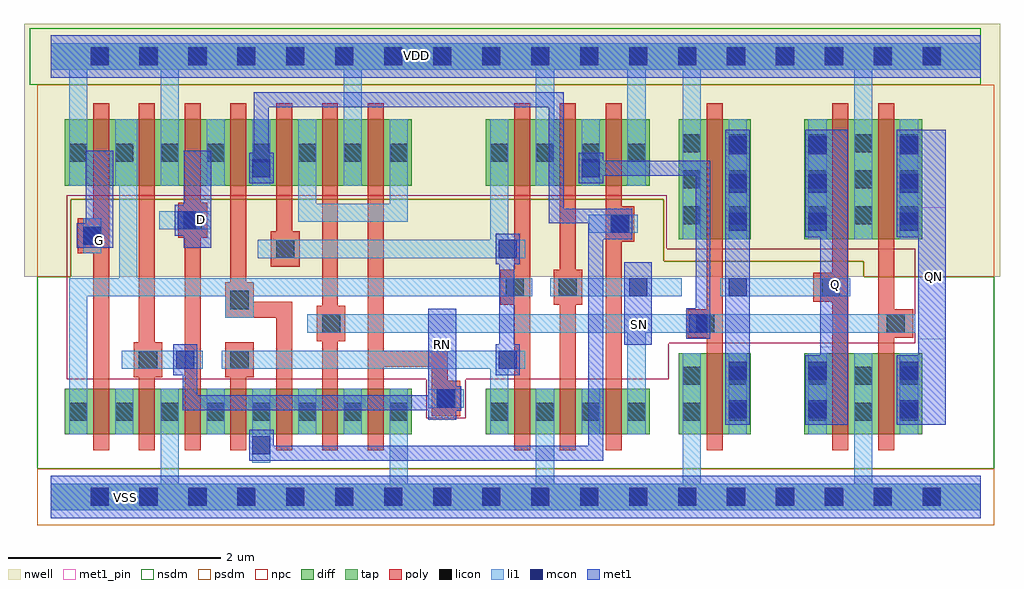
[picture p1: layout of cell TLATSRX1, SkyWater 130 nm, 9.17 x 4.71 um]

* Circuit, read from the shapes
.subckt TLATSRX1 D G Q QN RN SN VDD VSS
XM1 n1 G n2 VSS sky130_fd_pr__nfet_01v8 w=0.425 l=0.15
XM2 VSS RN n1 VSS sky130_fd_pr__nfet_01v8 w=0.425 l=0.15
XM3 n3 D VSS VSS sky130_fd_pr__nfet_01v8 w=0.425 l=0.15
XM4 n4 n5 n3 VSS sky130_fd_pr__nfet_01v8 w=0.425 l=0.15
XM5 n6 n2 n4 VSS sky130_fd_pr__nfet_01v8 w=0.425 l=0.15
XM6 n7 n8 n6 VSS sky130_fd_pr__nfet_01v8 w=0.425 l=0.15
XM7 VSS RN n7 VSS sky130_fd_pr__nfet_01v8 w=0.425 l=0.15
XM8 VSS n2 n5 VSS sky130_fd_pr__nfet_01v8 w=0.425 l=0.15
XM9 n9 SN VSS VSS sky130_fd_pr__nfet_01v8 w=0.425 l=0.15
XM10 n8 n4 n9 VSS sky130_fd_pr__nfet_01v8 w=0.425 l=0.15
XM11 n10 n8 VSS VSS sky130_fd_pr__nfet_01v8 w=0.76 l=0.15
XM12 VSS n10 Q VSS sky130_fd_pr__nfet_01v8 w=0.76 l=0.15
XM13 QN n8 VSS VSS sky130_fd_pr__nfet_01v8 w=0.76 l=0.15
XM14 n2 G VDD VDD sky130_fd_pr__pfet_01v8 w=0.625 l=0.15
XM15 VDD RN n2 VDD sky130_fd_pr__pfet_01v8 w=0.625 l=0.15
XM16 n11 D VDD VDD sky130_fd_pr__pfet_01v8 w=0.625 l=0.15
XM17 n4 n2 n11 VDD sky130_fd_pr__pfet_01v8 w=0.625 l=0.15
XM18 n12 n5 n4 VDD sky130_fd_pr__pfet_01v8 w=0.625 l=0.15
XM19 VDD n8 n12 VDD sky130_fd_pr__pfet_01v8 w=0.625 l=0.15
XM20 n12 RN VDD VDD sky130_fd_pr__pfet_01v8 w=0.625 l=0.15
XM21 VDD n2 n5 VDD sky130_fd_pr__pfet_01v8 w=0.625 l=0.15
XM22 n8 SN VDD VDD sky130_fd_pr__pfet_01v8 w=0.625 l=0.15
XM23 VDD n4 n8 VDD sky130_fd_pr__pfet_01v8 w=0.625 l=0.15
XM24 n10 n8 VDD VDD sky130_fd_pr__pfet_01v8 w=1.13 l=0.15
XM25 VDD n10 Q VDD sky130_fd_pr__pfet_01v8 w=1.13 l=0.15
XM26 QN n8 VDD VDD sky130_fd_pr__pfet_01v8 w=1.13 l=0.15
.ends

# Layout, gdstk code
from math import pi, radians
import gdstk
lib = gdstk.Library(unit=1e-6, precision=1e-09)
def R(c, l, rs):  # rectangles x0, y0, x1, y1
    for r in rs: c.add(gdstk.rectangle(r[:2], r[2:], *l))
def A(c, l, x, y, w, h, nx, ny, dx, dy):  # array of equal rectangles
    R(c, l, [(x+i*dx, y+j*dy, x+i*dx+w, y+j*dy+h) for i in range(nx) for j in range(ny)])
def P(c, l, *ps):  # polygons
    for p in ps: c.add(gdstk.Polygon(p, *l))
nwell = (64, 20)
diff = (65, 20)
tap = (65, 44)
poly = (66, 20)
licon = (66, 44)
li1 = (67, 20)
mcon = (67, 44)
met1_pin = (68, 16)
met1 = (68, 20)
nsdm = (93, 44)
psdm = (94, 20)
npc = (95, 20)

pyl1con_c_cdns_750710154 = lib.new_cell('PYL1CON_C_CDNS_750710154092')
R(pyl1con_c_cdns_750710154, poly, [(-0.135,-0.165,0.135,0.165)])
R(pyl1con_c_cdns_750710154, licon, [(-0.085,-0.085,0.085,0.085)])
R(pyl1con_c_cdns_750710154, npc, [(-0.185,-0.185,0.185,0.185)])

l1m1_c_cdns_750710154091 = lib.new_cell('L1M1_C_CDNS_750710154091')
R(l1m1_c_cdns_750710154091, li1, [(-0.085,-0.165,0.085,0.165)])
R(l1m1_c_cdns_750710154091, mcon, [(-0.085,-0.085,0.085,0.085)])
R(l1m1_c_cdns_750710154091, met1, [(-0.115,-0.145,0.115,0.145)])

l1m1_c_cdns_750710154090 = lib.new_cell('L1M1_C_CDNS_750710154090')
R(l1m1_c_cdns_750710154090, li1, [(-0.165,-0.085,0.165,0.085)])
R(l1m1_c_cdns_750710154090, mcon, [(-0.085,-0.085,0.085,0.085)])
R(l1m1_c_cdns_750710154090, met1, [(-0.115,-0.145,0.115,0.145)])

l1m1_c_cdns_750710154098 = lib.new_cell('L1M1_C_CDNS_750710154098')
R(l1m1_c_cdns_750710154098, li1, [(-0.085,-0.525,0.085,0.525)])
A(l1m1_c_cdns_750710154098, mcon, -0.085, -0.445, 0.17, 0.17, 1, 3, 0, 0.36)
R(l1m1_c_cdns_750710154098, met1, [(-0.115,-0.505,0.115,0.505)])

l1m1_c_cdns_750710154094 = lib.new_cell('L1M1_C_CDNS_750710154094')
R(l1m1_c_cdns_750710154094, li1, [(-0.085,-0.345,0.085,0.345)])
R(l1m1_c_cdns_750710154094, mcon, [(-0.085,-0.265,0.085,-0.095), (-0.085,0.095,0.085,0.265)])
R(l1m1_c_cdns_750710154094, met1, [(-0.115,-0.325,0.115,0.325)])

tlatsrx1 = lib.new_cell('TLATSRX1')
A(tlatsrx1, nwell, -0.045, 2.745, 1.04, 0.985, 3, 1, 0.43, 0)
A(tlatsrx1, nwell, 3.91, 2.745, 1.04, 0.985, 3, 1, 0.43, 0)
R(tlatsrx1, nwell, [(-0.25,2.07,8.92,4.445), (5.72,2.24,6.76,3.73), (6.9,2.24,7.9,3.73), (7.54,2.24,8.37,3.73), (1.245,2.745,2.245,3.73), (1.885,2.745,2.715,3.73), (2.105,2.745,3.145,3.73), (2.535,2.745,3.575,3.73), (-0.25,3.875,8.92,4.445)])
A(tlatsrx1, diff, 0.4, 0.59, 0.15, 0.425, 7, 1, 0.43, 0)
A(tlatsrx1, diff, 4.355, 0.59, 0.15, 0.425, 3, 1, 0.43, 0)
A(tlatsrx1, diff, 0.4, 2.925, 0.15, 0.625, 7, 1, 0.43, 0)
A(tlatsrx1, diff, 4.355, 2.925, 0.15, 0.625, 3, 1, 0.43, 0)
R(tlatsrx1, diff, [(0.135,0.59,0.4,1.015), (0.55,0.59,0.815,1.015), (0.565,0.59,0.83,1.015), (0.98,0.59,1.245,1.015), (0.995,0.59,1.26,1.015), (1.41,0.59,1.675,1.015), (1.425,0.59,1.69,1.015), (1.84,0.59,2.065,1.015), (2.065,0.59,2.12,1.015), (2.27,0.59,2.535,1.015), (2.285,0.59,2.55,1.015), (2.7,0.59,2.965,1.015), (2.715,0.59,2.98,1.015), (3.13,0.59,3.395,1.015), (4.09,0.59,4.355,1.015), (4.505,0.59,4.77,1.015), (4.52,0.59,4.785,1.015), (4.935,0.59,5.2,1.015), (4.95,0.59,5.215,1.015), (5.365,0.59,5.63,1.015), (5.9,0.59,6.165,1.35), (6.165,0.59,6.315,1.35), (6.315,0.59,6.58,1.35), (7.08,0.59,7.345,1.35), (7.345,0.59,7.495,1.35), (7.495,0.59,7.72,1.35), (7.72,0.59,7.775,1.35), (7.775,0.59,7.925,1.35), (7.925,0.59,8.19,1.35), (5.9,2.42,6.165,3.55), (6.165,2.42,6.315,3.55), (6.315,2.42,6.58,3.55), (7.08,2.42,7.345,3.55), (7.345,2.42,7.495,3.55), (7.495,2.42,7.72,3.55), (7.72,2.42,7.775,3.55), (7.775,2.42,7.925,3.55), (7.925,2.42,8.19,3.55), (0.135,2.925,0.4,3.55), (0.55,2.925,0.815,3.55), (0.565,2.925,0.83,3.55), (0.98,2.925,1.245,3.55), (0.995,2.925,1.26,3.55), (1.41,2.925,1.675,3.55), (1.425,2.925,1.69,3.55), (1.84,2.925,2.065,3.55), (2.065,2.925,2.12,3.55), (2.27,2.925,2.535,3.55), (2.285,2.925,2.55,3.55), (2.7,2.925,2.965,3.55), (2.715,2.925,2.98,3.55), (3.13,2.925,3.395,3.55), (4.09,2.925,4.355,3.55), (4.505,2.925,4.77,3.55), (4.52,2.925,4.785,3.55), (4.935,2.925,5.2,3.55), (4.95,2.925,5.215,3.55), (5.365,2.925,5.63,3.55)])
A(tlatsrx1, poly, 0.4, 0.44, 0.15, 0.055, 7, 2, 0.43, 0.67)
A(tlatsrx1, poly, 4.355, 0.44, 0.15, 0.055, 3, 2, 0.43, 0.67)
A(tlatsrx1, poly, 0.4, 0.495, 0.15, 0.095, 7, 2, 0.43, 0.52)
A(tlatsrx1, poly, 4.355, 0.495, 0.15, 0.095, 3, 2, 0.43, 0.52)
A(tlatsrx1, poly, 0.4, 0.59, 0.15, 0.425, 7, 1, 0.43, 0)
A(tlatsrx1, poly, 4.355, 0.59, 0.15, 0.425, 3, 1, 0.43, 0)
A(tlatsrx1, poly, 0.4, 2.775, 0.15, 0.055, 7, 2, 0.43, 0.87)
A(tlatsrx1, poly, 4.355, 2.775, 0.15, 0.055, 3, 2, 0.43, 0.87)
A(tlatsrx1, poly, 0.4, 2.83, 0.15, 0.095, 7, 2, 0.43, 0.72)
A(tlatsrx1, poly, 4.355, 2.83, 0.15, 0.095, 3, 2, 0.43, 0.72)
A(tlatsrx1, poly, 0.4, 2.925, 0.15, 0.625, 7, 1, 0.43, 0)
A(tlatsrx1, poly, 4.355, 2.925, 0.15, 0.625, 3, 1, 0.43, 0)
R(tlatsrx1, poly, [(6.165,0.44,6.315,0.495), (7.345,0.44,7.495,0.495), (7.775,0.44,7.925,0.495), (6.165,0.495,6.315,0.59), (7.345,0.495,7.495,0.59), (7.775,0.495,7.925,0.59), (6.165,0.59,6.315,1.35), (7.345,0.59,7.495,1.35), (7.775,0.59,7.925,1.35), (6.165,1.35,6.315,1.445), (7.345,1.35,7.495,1.445), (7.775,1.35,7.925,1.445), (6.165,1.445,6.315,1.5), (7.345,1.445,7.495,1.5), (7.775,1.445,7.925,1.5), (6.165,2.27,6.315,2.325), (7.345,2.27,7.495,2.325), (7.775,2.27,7.925,2.325), (6.165,2.325,6.315,2.42), (7.345,2.325,7.495,2.42), (7.775,2.325,7.925,2.42), (6.165,2.42,6.315,3.55), (7.345,2.42,7.495,3.55), (7.775,2.42,7.925,3.55), (6.165,3.55,6.315,3.645), (7.345,3.55,7.495,3.645), (7.775,3.55,7.925,3.645), (6.165,3.645,6.315,3.7), (7.345,3.645,7.495,3.7), (7.775,3.645,7.925,3.7)])
A(tlatsrx1, licon, 0.375, -0.085, 0.17, 0.17, 18, 2, 0.46, 4.14)
A(tlatsrx1, licon, 1.465, 0.715, 0.17, 0.17, 3, 2, 0.43, 2.435)
A(tlatsrx1, licon, 7.12, 0.715, 0.17, 0.17, 3, 2, 0.43, 0.34)
A(tlatsrx1, licon, 5.94, 2.56, 0.17, 0.17, 1, 3, 0, 0.34)
A(tlatsrx1, licon, 6.37, 2.56, 0.17, 0.17, 1, 3, 0, 0.34)
A(tlatsrx1, licon, 7.12, 2.56, 0.17, 0.17, 3, 3, 0.43, 0.34)
R(tlatsrx1, licon, [(0.175,0.715,0.345,0.885), (0.605,0.715,0.775,0.885), (0.605,0.715,0.775,0.885), (1.035,0.715,1.205,0.885), (1.035,0.715,1.205,0.885), (1.465,0.715,1.635,0.885), (2.325,0.715,2.495,0.885), (2.755,0.715,2.925,0.885), (2.755,0.715,2.925,0.885), (3.185,0.715,3.355,0.885), (4.13,0.715,4.3,0.885), (4.56,0.715,4.73,0.885), (4.56,0.715,4.73,0.885), (4.99,0.715,5.16,0.885), (4.99,0.715,5.16,0.885), (5.42,0.715,5.59,0.885), (5.94,0.715,6.11,0.885), (6.37,0.715,6.54,0.885), (5.94,1.055,6.11,1.225), (6.37,1.055,6.54,1.225), (0.175,3.15,0.345,3.32), (0.605,3.15,0.775,3.32), (0.605,3.15,0.775,3.32), (1.035,3.15,1.205,3.32), (1.035,3.15,1.205,3.32), (1.465,3.15,1.635,3.32), (2.325,3.15,2.495,3.32), (2.755,3.15,2.925,3.32), (2.755,3.15,2.925,3.32), (3.185,3.15,3.355,3.32), (4.13,3.15,4.3,3.32), (4.56,3.15,4.73,3.32), (4.56,3.15,4.73,3.32), (4.99,3.15,5.16,3.32), (4.99,3.15,5.16,3.32), (5.42,3.15,5.59,3.32)])
A(tlatsrx1, li1, 1.465, 0.59, 0.17, 0.425, 3, 1, 0.43, 0)
A(tlatsrx1, li1, 7.12, 0.59, 0.17, 0.76, 3, 1, 0.43, 0)
A(tlatsrx1, li1, 7.12, 2.42, 0.17, 1.13, 3, 1, 0.43, 0)
A(tlatsrx1, li1, 1.465, 2.925, 0.17, 0.625, 3, 1, 0.43, 0)
R(tlatsrx1, li1, [(0.175,0.59,0.345,1.015), (0.605,0.59,0.775,1.015), (0.605,0.59,0.775,1.015), (1.035,0.59,1.205,1.015), (1.035,0.59,1.205,1.015), (1.465,0.59,1.635,1.015), (2.325,0.59,2.495,1.015), (2.755,0.59,2.925,1.015), (2.755,0.59,2.925,1.015), (3.185,0.59,3.355,1.015), (4.13,0.59,4.3,1.015), (4.56,0.59,4.73,1.015), (4.56,0.59,4.73,1.015), (4.99,0.59,5.16,1.015), (4.99,0.59,5.16,1.015), (5.42,0.59,5.59,1.015), (5.94,0.59,6.11,1.35), (6.37,0.59,6.54,1.35), (1.64,1.685,1.91,1.885), (5.94,2.42,6.11,3.55), (6.37,2.42,6.54,3.55), (0.175,2.925,0.345,3.55), (0.605,2.925,0.775,3.55), (0.605,2.925,0.775,3.55), (1.035,2.925,1.205,3.55), (1.035,2.925,1.205,3.55), (1.465,2.925,1.635,3.55), (2.325,2.925,2.495,3.55), (2.755,2.925,2.925,3.55), (2.755,2.925,2.925,3.55), (3.185,2.925,3.355,3.55), (4.13,2.925,4.3,3.55), (4.56,2.925,4.73,3.55), (4.56,2.925,4.73,3.55), (4.99,2.925,5.16,3.55), (4.99,2.925,5.16,3.55), (5.42,2.925,5.59,3.55)])
A(tlatsrx1, mcon, 0.375, -0.085, 0.17, 0.17, 18, 2, 0.46, 4.14)
R(tlatsrx1, met1_pin, [(3.55,0.83,3.81,1.77), (7.23,1.405,7.49,2.645), (5.39,1.43,5.65,2.205), (8.15,1.48,8.41,2.72), (0.33,2.34,0.59,3.255), (1.25,2.34,1.51,3.255)])
R(tlatsrx1, met1, [(3.615,1.225,3.755,1.365), (5.495,1.64,5.635,1.78), (7.275,1.9,7.415,2.04), (8.205,2,8.345,2.14), (0.44,2.39,0.58,2.53), (5.19,2.42,5.235,2.71), (1.31,2.575,1.45,2.715)])
A(tlatsrx1, nsdm, -0.005, 0.46, 0.96, 0.685, 3, 1, 0.43, 0)
A(tlatsrx1, nsdm, 3.95, 0.46, 0.96, 0.685, 3, 1, 0.43, 0)
R(tlatsrx1, nsdm, [(1.285,0.46,2.075,1.145), (2.055,0.46,2.675,1.145), (2.145,0.46,3.105,1.145), (2.575,0.46,3.535,1.145), (5.76,0.46,6.72,1.48), (6.72,0.46,6.94,1.48), (6.94,0.46,7.73,1.48), (7.71,0.46,8.33,1.48), (-0.195,3.875,8.74,4.405), (-0.195,3.93,8.74,4.35)])
P(tlatsrx1, nsdm, [(8.865,2.07),(7.64,2.07),(7.64,2.215),(5.76,2.215),(5.76,2.795),(0.19,2.795),(0.19,2.07),(-0.125,2.07),(-0.125,0.265),(8.865,0.265)])
A(tlatsrx1, psdm, -0.005, 2.795, 0.96, 0.885, 3, 1, 0.43, 0)
A(tlatsrx1, psdm, 3.95, 2.795, 0.96, 0.885, 3, 1, 0.43, 0)
R(tlatsrx1, psdm, [(-0.125,-0.265,8.865,0.265), (-0.125,-0.21,8.865,0.21), (5.76,2.29,6.72,3.68), (6.94,2.29,7.73,3.68), (7.71,2.29,8.33,3.68), (1.285,2.795,2.075,3.68), (2.055,2.795,2.675,3.68), (2.145,2.795,3.105,3.68), (2.575,2.795,3.535,3.68)])
P(tlatsrx1, psdm, [(8.865,3.875),(-0.125,3.875),(-0.125,2.07),(0.19,2.07),(0.19,2.795),(5.76,2.795),(5.76,2.215),(7.64,2.215),(7.64,2.07),(8.865,2.07)],
  [(8.33,3.875),(-0.125,3.875),(-0.125,2.07),(0.19,2.07),(0.19,2.795),(5.76,2.795),(5.76,2.215),(8.33,2.215)])
P(tlatsrx1, npc, [(8.125,2.33),(5.79,2.33),(5.79,2.835),(0.15,2.835),(0.15,1.105),(5.81,1.105),(5.81,1.445),(8.125,1.445)])
tlatsrx1.add(gdstk.FlexPath([(3.655,0.84),(3.655,1.3)], 0.15, ends=(0, 0.075), simple_path=True, layer=66, datatype=20))  # poly
tlatsrx1.add(gdstk.FlexPath([(1.765,1.76),(1.765,2.83)], 0.15, ends=(0.075, 0), simple_path=True, layer=66, datatype=20))  # poly
tlatsrx1.add(gdstk.FlexPath([(1.765,1.76),(2.195,1.76)], 0.15, ends="extended", simple_path=True, layer=66, datatype=20))  # poly
tlatsrx1.add(gdstk.FlexPath([(2.195,1.76),(2.195,1.11)], 0.15, ends=(0.075, 0), simple_path=True, layer=66, datatype=20))  # poly
tlatsrx1.add(gdstk.FlexPath([(4.43,1.165),(4.43,2.83)], 0.15, ends="flush", simple_path=True, layer=66, datatype=20))  # poly
tlatsrx1.add(gdstk.FlexPath([(3.055,2.83),(3.055,1.11)], 0.15, ends="flush", simple_path=True, layer=66, datatype=20))  # poly
tlatsrx1.add(gdstk.FlexPath([(1.335,1.11),(1.335,2.83)], 0.15, ends="flush", simple_path=True, layer=66, datatype=20))  # poly
tlatsrx1.add(gdstk.FlexPath([(5.29,1.11),(5.29,2.83)], 0.15, ends="flush", simple_path=True, layer=66, datatype=20))  # poly
tlatsrx1.add(gdstk.FlexPath([(0.905,2.83),(0.905,1.11)], 0.15, ends="flush", simple_path=True, layer=66, datatype=20))  # poly
tlatsrx1.add(gdstk.FlexPath([(4.86,1.11),(4.86,2.83)], 0.15, ends="flush", simple_path=True, layer=66, datatype=20))  # poly
tlatsrx1.add(gdstk.FlexPath([(0.475,1.165),(0.475,2.775)], 0.15, ends="flush", simple_path=True, layer=66, datatype=20))  # poly
tlatsrx1.add(gdstk.FlexPath([(2.195,2.775),(2.195,2.465)], 0.15, ends="flush", simple_path=True, layer=66, datatype=20))  # poly
tlatsrx1.add(gdstk.FlexPath([(3.655,1.3),(3.055,1.3)], 0.15, ends=(0.075, 0), simple_path=True, layer=66, datatype=20))  # poly
tlatsrx1.add(gdstk.FlexPath([(2.625,2.83),(2.625,1.11)], 0.15, ends="flush", simple_path=True, layer=66, datatype=20))  # poly
tlatsrx1.add(gdstk.FlexPath([(7.85,1.445),(7.85,2.325)], 0.15, ends="flush", simple_path=True, layer=66, datatype=20))  # poly
tlatsrx1.add(gdstk.FlexPath([(7.42,1.445),(7.42,2.325)], 0.15, ends="flush", simple_path=True, layer=66, datatype=20))  # poly
tlatsrx1.add(gdstk.FlexPath([(6.24,2.27),(6.24,1.5)], 0.15, ends="flush", simple_path=True, layer=66, datatype=20))  # poly
tlatsrx1.add(gdstk.FlexPath([(0.73,1.97),(0.26,1.97)], 0.17, ends="extended", simple_path=True, layer=67, datatype=20))  # li1
tlatsrx1.add(gdstk.FlexPath([(0.73,3.55),(0.73,1.97)], 0.17, ends=(0, 0.085), simple_path=True, layer=67, datatype=20))  # li1
tlatsrx1.add(gdstk.FlexPath([(1.945,2.33),(4.24,2.33)], 0.17, ends="flush", simple_path=True, layer=67, datatype=20))  # li1
tlatsrx1.add(gdstk.FlexPath([(3.27,2.67),(2.41,2.67)], 0.17, ends="extended", simple_path=True, layer=67, datatype=20))  # li1
tlatsrx1.add(gdstk.FlexPath([(5.505,3.53),(5.505,4.14)], 0.17, ends=(0, 0.125), simple_path=True, layer=67, datatype=20))  # li1
tlatsrx1.add(gdstk.FlexPath([(0,4.14),(8.74,4.14)], 0.25, ends="flush", simple_path=True, layer=67, datatype=20))  # li1
tlatsrx1.add(gdstk.FlexPath([(0.26,0.93),(0.175,0.93)], 0.17, ends=(0.085, 0), simple_path=True, layer=67, datatype=20))  # li1
tlatsrx1.add(gdstk.FlexPath([(4.215,2.925),(4.215,2.405)], 0.17, ends=(0, 0.085), simple_path=True, layer=67, datatype=20))  # li1
tlatsrx1.add(gdstk.FlexPath([(4.645,0.635),(4.645,0)], 0.17, ends=(0, 0.125), simple_path=True, layer=67, datatype=20))  # li1
tlatsrx1.add(gdstk.FlexPath([(3.27,1.015),(3.27,0)], 0.17, ends=(0, 0.125), simple_path=True, layer=67, datatype=20))  # li1
tlatsrx1.add(gdstk.FlexPath([(2.41,1.63),(4.425,1.63)], 0.17, ends="flush", simple_path=True, layer=67, datatype=20))  # li1
tlatsrx1.add(gdstk.FlexPath([(1.61,1.29),(4.225,1.29)], 0.17, ends="flush", simple_path=True, layer=67, datatype=20))  # li1
tlatsrx1.add(gdstk.FlexPath([(4.425,1.63),(6.405,1.63)], 0.17, ends="flush", simple_path=True, layer=67, datatype=20))  # li1
tlatsrx1.add(gdstk.FlexPath([(4.645,3.53),(4.645,4.14)], 0.17, ends=(0, 0.125), simple_path=True, layer=67, datatype=20))  # li1
tlatsrx1.add(gdstk.FlexPath([(3.27,2.925),(3.27,2.67)], 0.17, ends=(0, 0.085), simple_path=True, layer=67, datatype=20))  # li1
tlatsrx1.add(gdstk.FlexPath([(2.41,2.67),(2.41,2.925)], 0.17, ends=(0.085, 0), simple_path=True, layer=67, datatype=20))  # li1
tlatsrx1.add(gdstk.FlexPath([(0,0),(8.74,0)], 0.25, ends="flush", simple_path=True, layer=67, datatype=20))  # li1
tlatsrx1.add(gdstk.FlexPath([(2.84,2.925),(2.84,4.14)], 0.17, ends=(0, 0.125), simple_path=True, layer=67, datatype=20))  # li1
tlatsrx1.add(gdstk.FlexPath([(1.02,2.6),(1.51,2.6)], 0.17, ends="flush", simple_path=True, layer=67, datatype=20))  # li1
tlatsrx1.add(gdstk.FlexPath([(0.67,1.29),(1.31,1.29)], 0.17, ends="flush", simple_path=True, layer=67, datatype=20))  # li1
tlatsrx1.add(gdstk.FlexPath([(1.12,1.015),(1.12,0)], 0.17, ends=(0, 0.125), simple_path=True, layer=67, datatype=20))  # li1
tlatsrx1.add(gdstk.FlexPath([(1.12,2.925),(1.12,4.14)], 0.17, ends=(0, 0.125), simple_path=True, layer=67, datatype=20))  # li1
tlatsrx1.add(gdstk.FlexPath([(6.465,1.97),(7.515,1.97)], 0.17, ends="flush", simple_path=True, layer=67, datatype=20))  # li1
tlatsrx1.add(gdstk.FlexPath([(5.055,2.565),(5.22,2.565)], 0.17, ends="flush", simple_path=True, layer=67, datatype=20))  # li1
tlatsrx1.add(gdstk.FlexPath([(0.26,1.97),(0.26,0.93)], 0.17, ends="extended", simple_path=True, layer=67, datatype=20))  # li1
tlatsrx1.add(gdstk.FlexPath([(4.215,1.015),(4.215,1.29)], 0.17, ends=(0, 0.085), simple_path=True, layer=67, datatype=20))  # li1
tlatsrx1.add(gdstk.FlexPath([(6.29,1.63),(8.125,1.63)], 0.17, ends="flush", simple_path=True, layer=67, datatype=20))  # li1
tlatsrx1.add(gdstk.FlexPath([(6.025,2.925),(6.025,4.14)], 0.17, ends=(0, 0.125), simple_path=True, layer=67, datatype=20))  # li1
tlatsrx1.add(gdstk.FlexPath([(7.635,2.925),(7.635,4.14)], 0.17, ends=(0, 0.125), simple_path=True, layer=67, datatype=20))  # li1
tlatsrx1.add(gdstk.FlexPath([(6.025,1.015),(6.025,0)], 0.17, ends=(0, 0.125), simple_path=True, layer=67, datatype=20))  # li1
tlatsrx1.add(gdstk.FlexPath([(7.635,1.35),(7.635,0)], 0.17, ends=(0, 0.125), simple_path=True, layer=67, datatype=20))  # li1
tlatsrx1.add(gdstk.FlexPath([(4.695,1.97),(5.93,1.97)], 0.17, ends="flush", simple_path=True, layer=67, datatype=20))  # li1
tlatsrx1.add(gdstk.FlexPath([(5.505,1.015),(5.505,1.63)], 0.17, ends=(0, 0.085), simple_path=True, layer=67, datatype=20))  # li1
tlatsrx1.add(gdstk.FlexPath([(0.26,2.925),(0.26,4.14)], 0.17, ends=(0, 0.125), simple_path=True, layer=67, datatype=20))  # li1
tlatsrx1.add(gdstk.FlexPath([(4.525,1.97),(0.73,1.97)], 0.17, ends=(0, 0.085), simple_path=True, layer=67, datatype=20))  # li1
tlatsrx1.add(gdstk.FlexPath([(0,4.14),(8.74,4.14)], 0.25, ends="flush", simple_path=True, layer=65, datatype=44))  # tap
tlatsrx1.add(gdstk.FlexPath([(0,0),(8.74,0)], 0.25, ends="flush", simple_path=True, layer=65, datatype=44))  # tap
tlatsrx1.add(gdstk.FlexPath([(4.75,3.73),(4.75,2.64)], 0.14, ends="extended", simple_path=True, layer=68, datatype=20))  # met1
tlatsrx1.add(gdstk.FlexPath([(5.12,0.41),(1.98,0.41)], 0.14, ends="extended", simple_path=True, layer=68, datatype=20))  # met1
tlatsrx1.add(gdstk.FlexPath([(1.98,0.41),(1.98,0.365)], 0.14, ends=(0.07, 0), simple_path=True, layer=68, datatype=20))  # met1
tlatsrx1.add(gdstk.FlexPath([(1.31,0.885),(3.655,0.885)], 0.14, ends=(0.07, 0.145), simple_path=True, layer=68, datatype=20))  # met1
tlatsrx1.add(gdstk.FlexPath([(5.505,3.09),(5.075,3.09)], 0.14, ends="extended", simple_path=True, layer=68, datatype=20))  # met1
tlatsrx1.add(gdstk.FlexPath([(4.285,2.475),(4.285,1.225)], 0.14, ends="flush", simple_path=True, layer=68, datatype=20))  # met1
tlatsrx1.add(gdstk.FlexPath([(0,4.14),(8.74,4.14)], 0.4, ends="flush", simple_path=True, layer=68, datatype=20))  # met1
tlatsrx1.add(gdstk.FlexPath([(1.38,2.34),(1.38,3.255)], 0.26, ends="flush", simple_path=True, layer=68, datatype=20))  # met1
tlatsrx1.add(gdstk.FlexPath([(5.12,2.64),(5.12,0.41)], 0.14, ends="extended", simple_path=True, layer=68, datatype=20))  # met1
tlatsrx1.add(gdstk.FlexPath([(6.13,3.09),(5.505,3.09)], 0.14, ends=(0.07, 0), simple_path=True, layer=68, datatype=20))  # met1
tlatsrx1.add(gdstk.FlexPath([(6.13,1.705),(6.13,3.09)], 0.14, ends="extended", simple_path=True, layer=68, datatype=20))  # met1
tlatsrx1.add(gdstk.FlexPath([(4.75,2.64),(5.12,2.64)], 0.14, ends="extended", simple_path=True, layer=68, datatype=20))  # met1
tlatsrx1.add(gdstk.FlexPath([(1.98,2.97),(1.98,3.73)], 0.14, ends=(0, 0.07), simple_path=True, layer=68, datatype=20))  # met1
tlatsrx1.add(gdstk.FlexPath([(5.075,3.09),(5.075,3.165)], 0.14, ends=(0.07, 0), simple_path=True, layer=68, datatype=20))  # met1
tlatsrx1.add(gdstk.FlexPath([(1.31,1.29),(1.31,0.885)], 0.14, ends="extended", simple_path=True, layer=68, datatype=20))  # met1
tlatsrx1.add(gdstk.FlexPath([(1.265,1.29),(1.31,1.29)], 0.14, ends=(0, 0.07), simple_path=True, layer=68, datatype=20))  # met1
tlatsrx1.add(gdstk.FlexPath([(7.36,0.68),(7.36,3.45)], 0.26, ends="flush", simple_path=True, layer=68, datatype=20))  # met1
tlatsrx1.add(gdstk.FlexPath([(1.98,3.73),(4.75,3.73)], 0.14, ends="extended", simple_path=True, layer=68, datatype=20))  # met1
tlatsrx1.add(gdstk.FlexPath([(8.28,0.68),(8.28,3.45)], 0.26, ends="flush", simple_path=True, layer=68, datatype=20))  # met1
tlatsrx1.add(gdstk.FlexPath([(6.455,0.68),(6.455,3.45)], 0.23, ends="flush", simple_path=True, layer=68, datatype=20))  # met1
tlatsrx1.add(gdstk.FlexPath([(0.46,2.34),(0.46,3.255)], 0.26, ends="flush", simple_path=True, layer=68, datatype=20))  # met1
tlatsrx1.add(gdstk.FlexPath([(0,0),(8.74,0)], 0.4, ends="flush", simple_path=True, layer=68, datatype=20))  # met1
tlatsrx1.add(gdstk.FlexPath([(5.52,1.43),(5.52,2.205)], 0.26, ends="flush", simple_path=True, layer=68, datatype=20))  # met1
tlatsrx1.add(gdstk.FlexPath([(6.015,1.705),(6.13,1.705)], 0.14, ends=(0, 0.07), simple_path=True, layer=68, datatype=20))  # met1
tlatsrx1.add(gdstk.FlexPath([(3.68,0.725),(3.68,1.77)], 0.26, ends="flush", simple_path=True, layer=68, datatype=20))  # met1
tlatsrx1.add(gdstk.FlexPath([(0,4.14),(8.74,4.14)], 0.4, ends="flush", simple_path=True, layer=68, datatype=16))  # met1_pin
tlatsrx1.add(gdstk.FlexPath([(0,0),(8.74,0)], 0.4, ends="flush", simple_path=True, layer=68, datatype=16))  # met1_pin
tlatsrx1.add(gdstk.Reference(pyl1con_c_cdns_750710154, (6.15,1.63), rotation=pi/2, x_reflection=True))
tlatsrx1.add(gdstk.Reference(pyl1con_c_cdns_750710154, (3.715,0.925), rotation=pi))
tlatsrx1.add(gdstk.Reference(pyl1con_c_cdns_750710154, (4.36,1.97), rotation=pi, x_reflection=True))
tlatsrx1.add(gdstk.Reference(pyl1con_c_cdns_750710154, (1.775,1.85), x_reflection=True))
tlatsrx1.add(gdstk.Reference(pyl1con_c_cdns_750710154, (1.775,1.29), x_reflection=True))
tlatsrx1.add(gdstk.Reference(pyl1con_c_cdns_750710154, (7.94,1.63), rotation=pi/2, x_reflection=True))
tlatsrx1.add(gdstk.Reference(pyl1con_c_cdns_750710154, (7.33,1.97), rotation=pi/2, x_reflection=True))
tlatsrx1.add(gdstk.Reference(pyl1con_c_cdns_750710154, (2.205,2.33), rotation=pi))
tlatsrx1.add(gdstk.Reference(pyl1con_c_cdns_750710154, (4.86,1.97), rotation=pi, x_reflection=True))
tlatsrx1.add(gdstk.Reference(pyl1con_c_cdns_750710154, (1.335,2.6), x_reflection=True))
tlatsrx1.add(gdstk.Reference(pyl1con_c_cdns_750710154, (0.915,1.29), rotation=pi))
tlatsrx1.add(gdstk.Reference(pyl1con_c_cdns_750710154, (5.35,2.565), x_reflection=True))
tlatsrx1.add(gdstk.Reference(pyl1con_c_cdns_750710154, (2.635,1.63), rotation=pi))
tlatsrx1.add(gdstk.Reference(pyl1con_c_cdns_750710154, (0.39,2.455), x_reflection=True))
tlatsrx1.add(gdstk.Reference(l1m1_c_cdns_750710154091, (1.98,3.09), rotation=pi, x_reflection=True))
tlatsrx1.add(gdstk.Reference(l1m1_c_cdns_750710154091, (1.98,0.485), rotation=pi, x_reflection=True))
tlatsrx1.add(gdstk.Reference(l1m1_c_cdns_750710154091, (5.075,3.09), rotation=pi, x_reflection=True))
tlatsrx1.add(gdstk.Reference(l1m1_c_cdns_750710154091, (3.715,0.925), rotation=3*pi/2))
tlatsrx1.add(gdstk.Reference(l1m1_c_cdns_750710154090, (4.295,2.33), rotation=pi, x_reflection=True))
tlatsrx1.add(gdstk.Reference(l1m1_c_cdns_750710154090, (6.085,1.63)))
tlatsrx1.add(gdstk.Reference(l1m1_c_cdns_750710154090, (1.28,2.6), x_reflection=True))
tlatsrx1.add(gdstk.Reference(l1m1_c_cdns_750710154090, (4.295,1.29), rotation=pi, x_reflection=True))
tlatsrx1.add(gdstk.Reference(l1m1_c_cdns_750710154090, (5.52,1.97), x_reflection=True))
tlatsrx1.add(gdstk.Reference(l1m1_c_cdns_750710154090, (1.265,1.29), x_reflection=True))
tlatsrx1.add(gdstk.Reference(l1m1_c_cdns_750710154090, (5.35,2.565)))
tlatsrx1.add(gdstk.Reference(l1m1_c_cdns_750710154090, (6.455,1.97), x_reflection=True))
tlatsrx1.add(gdstk.Reference(l1m1_c_cdns_750710154090, (0.39,2.455), rotation=3*pi/2, x_reflection=True))
tlatsrx1.add(gdstk.Reference(l1m1_c_cdns_750710154098, (7.205,2.945)))
tlatsrx1.add(gdstk.Reference(l1m1_c_cdns_750710154098, (8.065,2.945)))
tlatsrx1.add(gdstk.Reference(l1m1_c_cdns_750710154098, (6.455,2.945)))
tlatsrx1.add(gdstk.Reference(l1m1_c_cdns_750710154094, (7.205,1.005)))
tlatsrx1.add(gdstk.Reference(l1m1_c_cdns_750710154094, (8.065,1.005)))
tlatsrx1.add(gdstk.Reference(l1m1_c_cdns_750710154094, (6.455,1.005)))
tlatsrx1.add(gdstk.Label('VSS', (0.7,-0.005), layer=68, texttype=16))
tlatsrx1.add(gdstk.Label('VDD', (3.44,4.15), layer=68, texttype=16))
tlatsrx1.add(gdstk.Label('RN', (3.68,1.435), layer=68, texttype=5))
tlatsrx1.add(gdstk.Label('Q', (7.372,1.999), layer=68, texttype=5))
tlatsrx1.add(gdstk.Label('QN', (8.292,2.074), layer=68, texttype=5))
tlatsrx1.add(gdstk.Label('G', (0.462,2.414), layer=68, texttype=5))
tlatsrx1.add(gdstk.Label('D', (1.415,2.61), layer=68, texttype=5))
tlatsrx1.add(gdstk.Label('SN', (5.537,1.624), layer=68, texttype=5))

lib.write_gds('TLATSRX1.gds')
